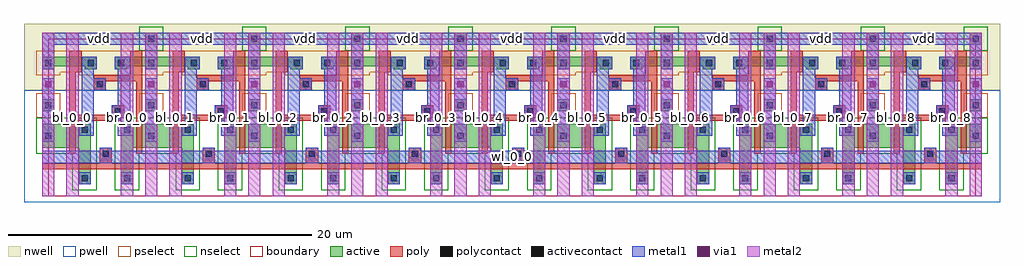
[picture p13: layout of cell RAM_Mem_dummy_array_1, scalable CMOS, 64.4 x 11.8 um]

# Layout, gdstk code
import gdstk
lib = gdstk.Library(unit=1e-6, precision=1e-09)
def R(c, l, rs):  # rectangles x0, y0, x1, y1
    for r in rs: c.add(gdstk.rectangle(r[:2], r[2:], *l))
def A(c, l, x, y, w, h, nx, ny, dx, dy):  # array of equal rectangles
    R(c, l, [(x+i*dx, y+j*dy, x+i*dx+w, y+j*dy+h) for i in range(nx) for j in range(ny)])
pwell = (41, 0)
nwell = (42, 0)
active = (43, 0)
pselect = (44, 0)
nselect = (45, 0)
poly = (46, 0)
polycontact = (47, 0)
activecontact = (48, 0)
metal1 = (49, 0)
via1 = (50, 0)
metal2 = (51, 0)
boundary = (63, 0)

dummy_cell_1rw = lib.new_cell('dummy_cell_1rw')
R(dummy_cell_1rw, pwell, [(-1.6,-0.4,8.4,7)])
R(dummy_cell_1rw, nwell, [(-1.6,7,8.4,11.4)])
A(dummy_cell_1rw, active, 2.4, 8.4, 0.8, 0.2, 3, 1, 2, 0)
R(dummy_cell_1rw, active, [(2,0.8,2.8,3.2), (4.8,0.8,5.6,3.2), (-0.4,3.2,2.8,4.8), (4.8,3.2,7.2,4.8), (-0.4,5.6,0.4,6.4), (6.4,5.6,7.2,6.4), (-0.4,8.4,0.4,8.6), (-0.4,8.6,3.2,9.2), (4.4,8.6,7.2,9.2), (6.4,10,7.2,10.8)])
R(dummy_cell_1rw, pselect, [(-0.8,5.2,0.8,6.8), (6,5.2,7.6,6.8), (-0.8,8,0.8,8.2), (2,8,7.6,8.2), (-0.8,8.2,7.6,9.6)])
R(dummy_cell_1rw, nselect, [(1.6,0.4,3.2,2.8), (4.4,0.4,6,2.8), (-0.8,2.8,3.2,5.2), (4.4,2.8,7.6,5.2), (6,9.6,7.6,11.2)])
R(dummy_cell_1rw, poly, [(-0.4,1.8,7.2,2.2), (3.4,2.2,4.2,3.2), (1.4,2.8,1.8,5), (5.8,2.8,6.2,7.6), (1.4,5,4.8,5.2), (1.4,5.2,5,5.4), (1.4,5.4,1.8,8.2), (4.2,5.4,5,6), (3,7,3.8,7.6), (3,7.6,6.2,8), (5.4,8,6.2,9.6), (1.4,8.2,2.2,9.6)])
R(dummy_cell_1rw, polycontact, [(3.6,2.6,4,3), (4.4,5.4,4.8,5.8), (3.2,7.2,3.6,7.6)])
A(dummy_cell_1rw, activecontact, 2.6, 8.6, 0.4, 0.4, 3, 1, 2, 0)
R(dummy_cell_1rw, activecontact, [(2.2,1,2.6,1.4), (5,1,5.4,1.4), (-0.2,3.8,0.2,4.2), (6.6,3.8,7,4.2), (2.2,4.2,2.6,4.6), (5,4.2,5.4,4.6), (-0.2,5.8,0.2,6.2), (6.6,5.8,7,6.2), (-0.2,8.6,0.2,9), (6.6,10.2,7,10.6)])
R(dummy_cell_1rw, metal1, [(2,0.8,2.8,1.6), (4.8,0.8,5.6,1.6), (-0.4,2.2,7.2,3), (-0.4,2.2,7.2,3), (3.4,3,4.2,3.2), (-0.4,3.6,0.4,7.8), (6.4,3.6,7.2,7.8), (2,4,3,4.8), (4.6,4,5.6,4.8), (2.2,4.8,3,7), (4.6,4.8,5.4,5.2), (4.2,5.2,5.4,6), (4.6,6,5.4,8.4), (2.2,7,3.8,7.8), (2.2,7.8,3,8.4), (-0.4,8.4,0.4,10), (2.2,8.4,3.2,9.2), (4.4,8.4,5.4,9.2), (6.4,8.4,7.2,10), (-0.4,10,7.2,10.8), (-0.4,10,7.2,10.8)])
R(dummy_cell_1rw, via1, [(-0.2,7.2,0.2,7.6), (6.6,7.2,7,7.6)])
R(dummy_cell_1rw, metal2, [(-0.4,0,0.4,10.8), (-0.4,0,0.4,10.8), (1.2,0,2,10.8), (1.2,0,2,10.8), (4.8,0,5.6,10.8), (4.8,0,5.6,10.8), (6.4,0,7.2,10.8), (6.4,0,7.2,10.8)])
R(dummy_cell_1rw, boundary, [(0,0,6.8,10.4)])
dummy_cell_1rw.add(gdstk.Label('vdd', (3.34,10.4), layer=49, texttype=0))
dummy_cell_1rw.add(gdstk.Label('wl', (0.8,2.6), layer=49, texttype=0))
dummy_cell_1rw.add(gdstk.Label('gnd', (0,1.2), layer=51, texttype=0))
dummy_cell_1rw.add(gdstk.Label('gnd', (6.8,1.2), layer=51, texttype=0))
dummy_cell_1rw.add(gdstk.Label('bl', (1.6,9.8), layer=51, texttype=0))
dummy_cell_1rw.add(gdstk.Label('br', (5.2,9.8), layer=51, texttype=0))
dummy_cell_1rw.add(gdstk.Label('bl', (1.6,5.4), layer=51, texttype=0))
dummy_cell_1rw.add(gdstk.Label('br', (5.2,5.4), layer=51, texttype=0))
dummy_cell_1rw.add(gdstk.Label('wl', (3.4,2.6), layer=49, texttype=0))
dummy_cell_1rw.add(gdstk.Label('vdd', (3.4,10.4), layer=49, texttype=0))
dummy_cell_1rw.add(gdstk.Label('gnd', (0,5.4), layer=51, texttype=0))
dummy_cell_1rw.add(gdstk.Label('gnd', (6.8,5.4), layer=51, texttype=0))

ram_mem_dummy_array_1 = lib.new_cell('RAM_Mem_dummy_array_1')
A(ram_mem_dummy_array_1, metal1, -0.4, 10, 7.6, 0.8, 9, 1, 6.8, 0)
R(ram_mem_dummy_array_1, metal1, [(0,2.2,61.2,3)])
A(ram_mem_dummy_array_1, metal2, -0.4, 0, 0.8, 10.8, 10, 1, 6.8, 0)
R(ram_mem_dummy_array_1, metal2, [(1.2,0,2,10.4), (4.8,0,5.6,10.4), (8,0,8.8,10.4), (11.6,0,12.4,10.4), (14.8,0,15.6,10.4), (18.4,0,19.2,10.4), (21.6,0,22.4,10.4), (25.2,0,26,10.4), (28.4,0,29.2,10.4), (32,0,32.8,10.4), (35.2,0,36,10.4), (38.8,0,39.6,10.4), (42,0,42.8,10.4), (45.6,0,46.4,10.4), (48.8,0,49.6,10.4), (52.4,0,53.2,10.4), (55.6,0,56.4,10.4), (59.2,0,60,10.4)])
R(ram_mem_dummy_array_1, boundary, [(0,0,61.2,10.4)])
ram_mem_dummy_array_1.add(gdstk.Reference(dummy_cell_1rw, (0,0)))
ram_mem_dummy_array_1.add(gdstk.Reference(dummy_cell_1rw, (6.8,0)))
ram_mem_dummy_array_1.add(gdstk.Reference(dummy_cell_1rw, (13.6,0)))
ram_mem_dummy_array_1.add(gdstk.Reference(dummy_cell_1rw, (20.4,0)))
ram_mem_dummy_array_1.add(gdstk.Reference(dummy_cell_1rw, (27.2,0)))
ram_mem_dummy_array_1.add(gdstk.Reference(dummy_cell_1rw, (34,0)))
ram_mem_dummy_array_1.add(gdstk.Reference(dummy_cell_1rw, (40.8,0)))
ram_mem_dummy_array_1.add(gdstk.Reference(dummy_cell_1rw, (47.6,0)))
ram_mem_dummy_array_1.add(gdstk.Reference(dummy_cell_1rw, (54.4,0)))
ram_mem_dummy_array_1.add(gdstk.Label('bl_0_0', (1.6,5.2), layer=51, texttype=0))
ram_mem_dummy_array_1.add(gdstk.Label('br_0_0', (5.2,5.2), layer=51, texttype=0))
ram_mem_dummy_array_1.add(gdstk.Label('bl_0_1', (8.4,5.2), layer=51, texttype=0))
ram_mem_dummy_array_1.add(gdstk.Label('br_0_1', (12,5.2), layer=51, texttype=0))
ram_mem_dummy_array_1.add(gdstk.Label('bl_0_2', (15.2,5.2), layer=51, texttype=0))
ram_mem_dummy_array_1.add(gdstk.Label('br_0_2', (18.8,5.2), layer=51, texttype=0))
ram_mem_dummy_array_1.add(gdstk.Label('bl_0_3', (22,5.2), layer=51, texttype=0))
ram_mem_dummy_array_1.add(gdstk.Label('br_0_3', (25.6,5.2), layer=51, texttype=0))
ram_mem_dummy_array_1.add(gdstk.Label('bl_0_4', (28.8,5.2), layer=51, texttype=0))
ram_mem_dummy_array_1.add(gdstk.Label('br_0_4', (32.4,5.2), layer=51, texttype=0))
ram_mem_dummy_array_1.add(gdstk.Label('bl_0_5', (35.6,5.2), layer=51, texttype=0))
ram_mem_dummy_array_1.add(gdstk.Label('br_0_5', (39.2,5.2), layer=51, texttype=0))
ram_mem_dummy_array_1.add(gdstk.Label('bl_0_6', (42.4,5.2), layer=51, texttype=0))
ram_mem_dummy_array_1.add(gdstk.Label('br_0_6', (46,5.2), layer=51, texttype=0))
ram_mem_dummy_array_1.add(gdstk.Label('bl_0_7', (49.2,5.2), layer=51, texttype=0))
ram_mem_dummy_array_1.add(gdstk.Label('br_0_7', (52.8,5.2), layer=51, texttype=0))
ram_mem_dummy_array_1.add(gdstk.Label('bl_0_8', (56,5.2), layer=51, texttype=0))
ram_mem_dummy_array_1.add(gdstk.Label('br_0_8', (59.6,5.2), layer=51, texttype=0))
ram_mem_dummy_array_1.add(gdstk.Label('wl_0_0', (30.6,2.6), layer=49, texttype=0))
ram_mem_dummy_array_1.add(gdstk.Label('vdd', (23.8,10.4), layer=49, texttype=0))
ram_mem_dummy_array_1.add(gdstk.Label('vdd', (51,10.4), layer=49, texttype=0))
ram_mem_dummy_array_1.add(gdstk.Label('vdd', (10.2,10.4), layer=49, texttype=0))
ram_mem_dummy_array_1.add(gdstk.Label('vdd', (17,10.4), layer=49, texttype=0))
ram_mem_dummy_array_1.add(gdstk.Label('vdd', (3.4,10.4), layer=49, texttype=0))
ram_mem_dummy_array_1.add(gdstk.Label('vdd', (37.4,10.4), layer=49, texttype=0))
ram_mem_dummy_array_1.add(gdstk.Label('vdd', (57.8,10.4), layer=49, texttype=0))
ram_mem_dummy_array_1.add(gdstk.Label('vdd', (44.2,10.4), layer=49, texttype=0))
ram_mem_dummy_array_1.add(gdstk.Label('vdd', (30.6,10.4), layer=49, texttype=0))
ram_mem_dummy_array_1.add(gdstk.Label('gnd', (40.8,5.4), layer=51, texttype=0))
ram_mem_dummy_array_1.add(gdstk.Label('gnd', (0,5.4), layer=51, texttype=0))
ram_mem_dummy_array_1.add(gdstk.Label('gnd', (34,5.4), layer=51, texttype=0))
ram_mem_dummy_array_1.add(gdstk.Label('gnd', (54.4,5.4), layer=51, texttype=0))
ram_mem_dummy_array_1.add(gdstk.Label('gnd', (13.6,5.4), layer=51, texttype=0))
ram_mem_dummy_array_1.add(gdstk.Label('gnd', (27.2,5.4), layer=51, texttype=0))
ram_mem_dummy_array_1.add(gdstk.Label('gnd', (47.6,5.4), layer=51, texttype=0))
ram_mem_dummy_array_1.add(gdstk.Label('gnd', (61.2,5.4), layer=51, texttype=0))
ram_mem_dummy_array_1.add(gdstk.Label('gnd', (6.8,5.4), layer=51, texttype=0))
ram_mem_dummy_array_1.add(gdstk.Label('gnd', (20.4,5.4), layer=51, texttype=0))

lib.write_gds('RAM_Mem_dummy_array_1.gds')
